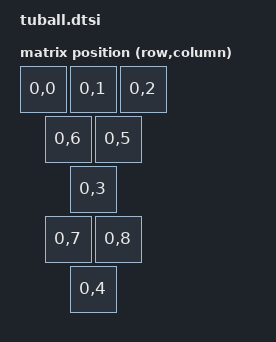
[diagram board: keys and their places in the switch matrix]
#include <dt-bindings/zmk/matrix_transform.h>

/ {
    chosen {
        zmk,physical-layout = &physical_layout0;
    };

    default_transform: keymap_transform_0 {
        compatible = "zmk,matrix-transform";

        columns = <3>;
        rows = <3>;
        map = <
	               RC(0,0) RC(0,1) RC(0,2) 
                   RC(0,6)                 RC(0,5) 

                                               RC(0,3) 

                              RC(0,7)RC(0,8)   

					       RC(0,4)       
        >;
    };
};
